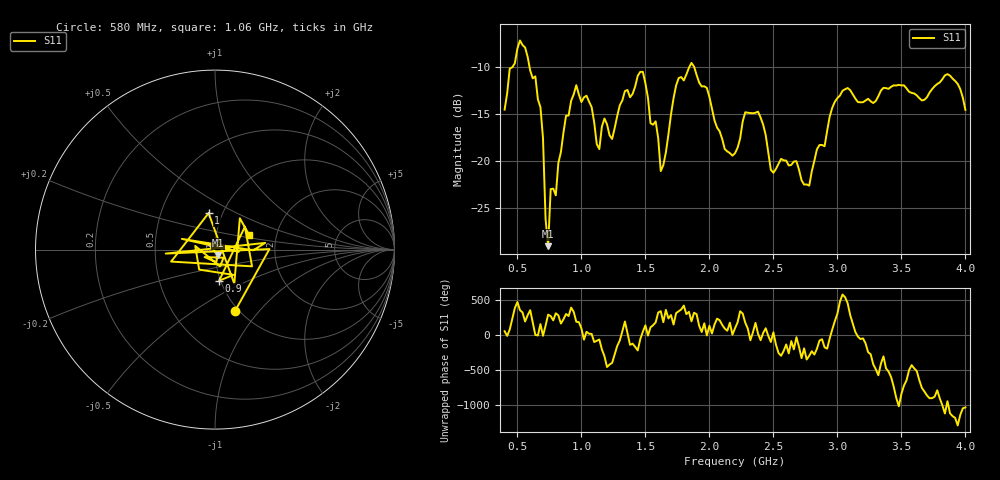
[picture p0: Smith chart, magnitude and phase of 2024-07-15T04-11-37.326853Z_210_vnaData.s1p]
!Created with skrf (http://scikit-rf.org).
# Hz S RI R 50.0
!freq ReS11 ImS11
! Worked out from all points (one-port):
!   181 points, 400 MHz to 4 GHz, reference 50 ohm
!   lowest |S11| = -29.0 dB at 740 MHz (marker M1), VSWR 1.07, Z = 51.5 - j3.25 ohm
!   |S11| at or under -10 dB: start of sweep to 460.6 MHz; 595 MHz to 1.843 GHz (1.248 GHz wide, 102 % of centre); 1.881 GHz to end of sweep
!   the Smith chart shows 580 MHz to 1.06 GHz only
!   S11 on the Smith chart (normalised r, x): 580 MHz: 0.96, -0.75; 900 MHz: 0.98, -0.35; 1 GHz: 0.86, +0.36; 1.06 GHz: 1.44, +0.25
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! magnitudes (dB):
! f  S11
! 400 MHz  -14.5
! 520 MHz  -7.2
! 580 MHz  -8.9
! 680 MHz  -14.3
! 740 MHz  -29.0
! 760 MHz  -23.0
! 800 MHz  -23.6
! 860 MHz  -16.9
! 900 MHz  -15.1
! 1 GHz  -13.7
! 1.06 GHz  -13.7
! 1.14 GHz  -18.7
! 1.3 GHz  -14.1
! 1.48 GHz  -10.5
! 1.62 GHz  -21.0
! 1.76 GHz  -11.2
! 1.86 GHz  -9.6
! 2.2 GHz  -19.2
! 2.28 GHz  -14.8
! 2.38 GHz  -14.7
! 2.48 GHz  -20.9
! 2.66 GHz  -20.0
! 2.78 GHz  -22.6
! 2.96 GHz  -14.3
! 3.1 GHz  -12.4
! 3.56 GHz  -12.6
! 3.86 GHz  -10.7
! 4 GHz  -14.5
